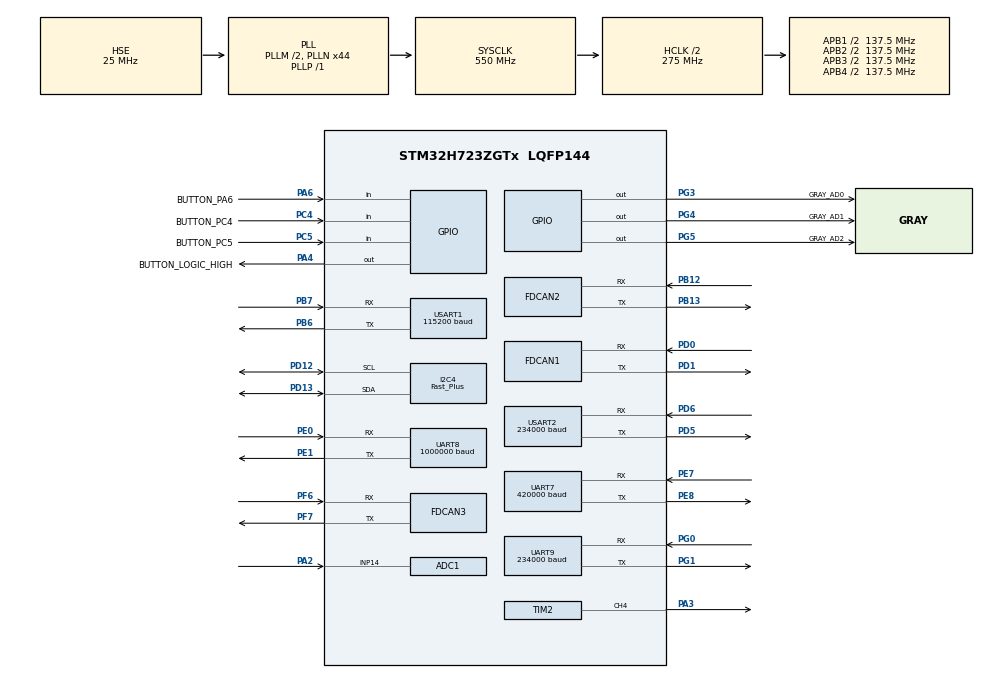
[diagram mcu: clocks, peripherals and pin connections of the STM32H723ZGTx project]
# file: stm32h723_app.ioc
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ADC1.Channel-0\#ChannelRegularConversion=ADC_CHANNEL_14
ADC1.ClockPrescaler=ADC_CLOCK_ASYNC_DIV2
ADC1.ContinuousConvMode=DISABLE
ADC1.ConversionDataManagement=ADC_CONVERSIONDATA_DR
ADC1.DataAlign=ADC_DATAALIGN_RIGHT
ADC1.DiscontinuousConvMode=DISABLE
ADC1.ExternalTrigConv=ADC_SOFTWARE_START
ADC1.ExternalTrigConvEdge=ADC_EXTERNALTRIGCONVEDGE_NONE
ADC1.NbrOfConversion=1
ADC1.NbrOfConversionFlag=1
ADC1.OffsetNumber-0\#ChannelRegularConversion=ADC_OFFSET_NONE
ADC1.Overrun=ADC_OVR_DATA_PRESERVED
ADC1.Rank-0\#ChannelRegularConversion=1
ADC1.Resolution=ADC_RESOLUTION_12B
ADC1.SamplingTime-0\#ChannelRegularConversion=ADC_SAMPLETIME_64CYCLES_5
ADC1.SamplingTimeCommon1=ADC_SAMPLETIME_64CYCLES_5
ADC1.SamplingTimeCommon2=ADC_SAMPLETIME_64CYCLES_5
ADC1.ScanConvMode=ADC_SCAN_DISABLE
ADC1.master=1
CORTEX_M7.CPU_DCache=Disabled
CORTEX_M7.default_mode_Activation=1
Dma.Request0=UART7_RX
Dma.Request1=UART8_TX
Dma.Request2=UART9_RX
Dma.Request3=USART2_RX
Dma.UART7_RX.0.Direction=DMA_PERIPH_TO_MEMORY
Dma.UART7_RX.0.EventEnable=DISABLE
Dma.UART7_RX.0.FIFOMode=DMA_FIFOMODE_DISABLE
Dma.UART7_RX.0.Instance=DMA1_Stream0
Dma.UART7_RX.0.MemDataAlignment=DMA_MDATAALIGN_BYTE
Dma.UART7_RX.0.MemInc=DMA_MINC_ENABLE
Dma.UART7_RX.0.Mode=DMA_NORMAL
Dma.UART7_RX.0.PeriphDataAlignment=DMA_PDATAALIGN_BYTE
Dma.UART7_RX.0.PeriphInc=DMA_PINC_DISABLE
Dma.UART7_RX.0.Polarity=HAL_DMAMUX_REQ_GEN_RISING
Dma.UART7_RX.0.Priority=DMA_PRIORITY_HIGH
Dma.UART7_RX.0.RequestNumber=1
Dma.UART7_RX.0.SignalID=NONE
Dma.UART7_RX.0.SyncEnable=DISABLE
Dma.UART7_RX.0.SyncPolarity=HAL_DMAMUX_SYNC_NO_EVENT
Dma.UART7_RX.0.SyncRequestNumber=1
Dma.UART7_RX.0.SyncSignalID=NONE
Dma.UART8_TX.1.Direction=DMA_MEMORY_TO_PERIPH
Dma.UART8_TX.1.EventEnable=DISABLE
Dma.UART8_TX.1.FIFOMode=DMA_FIFOMODE_DISABLE
Dma.UART8_TX.1.Instance=DMA1_Stream1
Dma.UART8_TX.1.MemDataAlignment=DMA_MDATAALIGN_BYTE
Dma.UART8_TX.1.MemInc=DMA_MINC_ENABLE
Dma.UART8_TX.1.Mode=DMA_NORMAL
Dma.UART8_TX.1.PeriphDataAlignment=DMA_PDATAALIGN_BYTE
Dma.UART8_TX.1.PeriphInc=DMA_PINC_DISABLE
Dma.UART8_TX.1.Polarity=HAL_DMAMUX_REQ_GEN_RISING
Dma.UART8_TX.1.Priority=DMA_PRIORITY_LOW
Dma.UART8_TX.1.RequestNumber=1
Dma.UART8_TX.1.SignalID=NONE
Dma.UART8_TX.1.SyncEnable=DISABLE
Dma.UART8_TX.1.SyncPolarity=HAL_DMAMUX_SYNC_NO_EVENT
Dma.UART8_TX.1.SyncRequestNumber=1
Dma.UART8_TX.1.SyncSignalID=NONE
Dma.UART9_RX.2.Direction=DMA_PERIPH_TO_MEMORY
Dma.UART9_RX.2.EventEnable=DISABLE
Dma.UART9_RX.2.FIFOMode=DMA_FIFOMODE_DISABLE
Dma.UART9_RX.2.Instance=DMA1_Stream2
Dma.UART9_RX.2.MemDataAlignment=DMA_MDATAALIGN_BYTE
Dma.UART9_RX.2.MemInc=DMA_MINC_ENABLE
Dma.UART9_RX.2.Mode=DMA_NORMAL
Dma.UART9_RX.2.PeriphDataAlignment=DMA_PDATAALIGN_BYTE
Dma.UART9_RX.2.PeriphInc=DMA_PINC_DISABLE
Dma.UART9_RX.2.Polarity=HAL_DMAMUX_REQ_GEN_RISING
Dma.UART9_RX.2.Priority=DMA_PRIORITY_LOW
Dma.UART9_RX.2.RequestNumber=1
Dma.UART9_RX.2.SignalID=NONE
Dma.UART9_RX.2.SyncEnable=DISABLE
Dma.UART9_RX.2.SyncPolarity=HAL_DMAMUX_SYNC_NO_EVENT
Dma.UART9_RX.2.SyncRequestNumber=1
Dma.UART9_RX.2.SyncSignalID=NONE
Dma.USART2_RX.3.Direction=DMA_PERIPH_TO_MEMORY
Dma.USART2_RX.3.EventEnable=DISABLE
Dma.USART2_RX.3.FIFOMode=DMA_FIFOMODE_DISABLE
Dma.USART2_RX.3.Instance=DMA1_Stream3
Dma.USART2_RX.3.MemDataAlignment=DMA_MDATAALIGN_BYTE
Dma.USART2_RX.3.MemInc=DMA_MINC_ENABLE
Dma.USART2_RX.3.Mode=DMA_NORMAL
Dma.USART2_RX.3.PeriphDataAlignment=DMA_PDATAALIGN_BYTE
Dma.USART2_RX.3.PeriphInc=DMA_PINC_DISABLE
Dma.USART2_RX.3.Polarity=HAL_DMAMUX_REQ_GEN_RISING
Dma.USART2_RX.3.Priority=DMA_PRIORITY_LOW
Dma.USART2_RX.3.RequestNumber=1
Dma.USART2_RX.3.SignalID=NONE
Dma.USART2_RX.3.SyncEnable=DISABLE
Dma.USART2_RX.3.SyncPolarity=HAL_DMAMUX_SYNC_NO_EVENT
Dma.USART2_RX.3.SyncRequestNumber=1
Dma.USART2_RX.3.SyncSignalID=NONE
FDCAN1.CalculateBaudRateNominal=1000000
FDCAN1.CalculateTimeBitNominal=1000
FDCAN1.CalculateTimeQuantumNominal=25.0
FDCAN1.DataPrescaler=3
FDCAN1.DataSyncJumpWidth=10
FDCAN1.DataTimeSeg1=3
FDCAN1.DataTimeSeg2=10
FDCAN1.ExtFiltersNbr=1
FDCAN1.MessageRAMOffset=0
FDCAN1.NominalPrescaler=3
FDCAN1.NominalSyncJumpWidth=10
FDCAN1.NominalTimeSeg1=29
FDCAN1.NominalTimeSeg2=10
FDCAN1.RxFifo0ElmtsNbr=12
FDCAN1.StdFiltersNbr=1
FDCAN1.TxFifoQueueElmtsNbr=10
FDCAN2.CalculateBaudRateNominal=1000000
FDCAN2.CalculateTimeBitNominal=1000
FDCAN2.CalculateTimeQuantumNominal=25.0
FDCAN2.DataPrescaler=3
FDCAN2.DataSyncJumpWidth=10
FDCAN2.DataTimeSeg1=3
FDCAN2.DataTimeSeg2=10
FDCAN2.ExtFiltersNbr=1
FDCAN2.MessageRAMOffset=89
FDCAN2.NominalPrescaler=3
FDCAN2.NominalSyncJumpWidth=10
FDCAN2.NominalTimeSeg1=29
FDCAN2.NominalTimeSeg2=10
FDCAN2.RxFifo0ElmtsNbr=12
FDCAN2.StdFiltersNbr=1
FDCAN2.TxFifoQueueElmtsNbr=10
FDCAN3.CalculateBaudRateNominal=1000000
FDCAN3.CalculateTimeBitNominal=1000
FDCAN3.CalculateTimeQuantumNominal=25.0
FDCAN3.DataPrescaler=3
FDCAN3.DataSyncJumpWidth=10
FDCAN3.DataTimeSeg1=3
FDCAN3.DataTimeSeg2=10
FDCAN3.ExtFiltersNbr=1
FDCAN3.MessageRAMOffset=178
FDCAN3.NominalPrescaler=3
FDCAN3.NominalSyncJumpWidth=10
FDCAN3.NominalTimeSeg1=29
FDCAN3.NominalTimeSeg2=10
FDCAN3.RxFifo0ElmtsNbr=12
FDCAN3.StdFiltersNbr=1
FDCAN3.TxFifoQueueElmtsNbr=10
FREERTOS.Tasks01=defaultTask,24,2000,startDefaultTask,As weak,NULL,Dynamic,NULL,NULL
FREERTOS.configCHECK_FOR_STACK_OVERFLOW=2
FREERTOS.configMAX_TASK_NAME_LEN=32
FREERTOS.configMINIMAL_STACK_SIZE=256
FREERTOS.configTOTAL_HEAP_SIZE=40000
I2C4.AddressingMode=I2C_ADDRESSINGMODE_7BIT
I2C4.AnalogFilter=I2C_ANALOGFILTER_ENABLE
I2C4.DualAddressMode=I2C_DUALADDRESS_DISABLE
I2C4.FASTMODEPLUS=I2C_FASTMODEPLUS_I2C4
I2C4.GeneralCallMode=I2C_GENERALCALL_DISABLE
I2C4.I2C_Fall_Time=100
I2C4.I2C_Rise_Time=100
I2C4.I2C_Speed_Mode=I2C_Fast_Plus
I2C4.NoStretchMode=I2C_NOSTRETCH_DISABLE
I2C4.OwnAddress1=0
I2C4.Speed=1000
I2C4.Timing=0x10A20D1F
TIM2.AutoReloadPreload=TIM_AUTORELOAD_PRELOAD_DISABLE
TIM2.Channel-PWM\ Generation4\ CH4=TIM_CHANNEL_4
TIM2.CounterMode=TIM_COUNTERMODE_UP
TIM2.Period=499
TIM2.Prescaler=274
Mcu.Family=STM32H7
Mcu.Name=STM32H723ZGTx
Mcu.Package=LQFP144
NVIC.DMA1_Stream0_IRQn=true\:5\:0\:false\:false\:true\:true\:false\:true\:true
NVIC.DMA1_Stream1_IRQn=true\:5\:0\:false\:false\:true\:true\:false\:true\:true
NVIC.DMA1_Stream2_IRQn=true\:5\:0\:false\:false\:true\:true\:false\:true\:true
NVIC.DMA1_Stream3_IRQn=true\:5\:0\:false\:false\:true\:true\:false\:true\:true
NVIC.FDCAN1_IT0_IRQn=true\:5\:0\:false\:false\:true\:true\:true\:true\:true
NVIC.FDCAN2_IT0_IRQn=true\:5\:0\:false\:false\:true\:true\:true\:true\:true
NVIC.FDCAN3_IT0_IRQn=true\:5\:0\:false\:false\:true\:true\:true\:true\:true
NVIC.PriorityGroup=NVIC_PRIORITYGROUP_4
NVIC.TIM6_DAC_IRQn=true\:15\:0\:false\:false\:true\:false\:false\:true\:true
NVIC.TimeBase=TIM6_DAC_IRQn
NVIC.TimeBaseIP=TIM6
NVIC.UART7_IRQn=true\:5\:0\:false\:false\:true\:true\:true\:true\:true
NVIC.UART8_IRQn=true\:5\:0\:false\:false\:true\:true\:true\:true\:true
NVIC.UART9_IRQn=true\:5\:0\:false\:false\:true\:true\:true\:true\:true
NVIC.USART2_IRQn=true\:5\:0\:false\:false\:true\:true\:true\:true\:true
PA13(JTMS/SWDIO).Mode=Serial_Wire
PA13(JTMS/SWDIO).Signal=DEBUG_JTMS-SWDIO
PA14(JTCK/SWCLK).Mode=Serial_Wire
PA14(JTCK/SWCLK).Signal=DEBUG_JTCK-SWCLK
PA2.Signal=ADCx_INP14
PA3.Mode=PWM Generation4 CH4
PA3.Signal=TIM2_CH4
PA4.GPIO_Label=BUTTON_LOGIC_HIGH
PA4.Signal=GPIO_Output
PA6.GPIO_Label=BUTTON_PA6
PA6.Signal=GPIO_Input
PB12.Mode=FDCAN_Activate
PB12.Signal=FDCAN2_RX
PB13.Mode=FDCAN_Activate
PB13.Signal=FDCAN2_TX
PB6.Mode=Asynchronous
PB6.Signal=USART1_TX
PB7.Mode=Asynchronous
PB7.Signal=USART1_RX
PC4.GPIO_Label=BUTTON_PC4
PC4.Signal=GPIO_Input
PC5.GPIO_Label=BUTTON_PC5
PC5.Signal=GPIO_Input
PD0.Mode=FDCAN_Activate
PD0.Signal=FDCAN1_RX
PD1.Mode=FDCAN_Activate
PD1.Signal=FDCAN1_TX
PD12.Mode=I2C
PD12.Signal=I2C4_SCL
PD13.Mode=I2C
PD13.Signal=I2C4_SDA
PD5.Mode=Asynchronous
PD5.Signal=USART2_TX
PD6.Mode=Asynchronous
PD6.Signal=USART2_RX
PE0.Mode=Asynchronous
PE0.Signal=UART8_RX
PE1.Mode=Asynchronous
PE1.Signal=UART8_TX
PE7.Mode=Asynchronous
PE7.Signal=UART7_RX
PE8.Mode=Asynchronous
PE8.Signal=UART7_TX
PF6.Mode=FDCAN_Activate
PF6.Signal=FDCAN3_RX
PF7.Mode=FDCAN_Activate
PF7.Signal=FDCAN3_TX
PG0.Mode=Asynchronous
PG0.Signal=UART9_RX
PG1.Mode=Asynchronous
PG1.Signal=UART9_TX
PG3.GPIO_Label=GRAY_AD0
PG3.Signal=GPIO_Output
PG4.GPIO_Label=GRAY_AD1
PG4.Signal=GPIO_Output
PG5.GPIO_Label=GRAY_AD2
PG5.Signal=GPIO_Output
PH0-OSC_IN.Mode=HSE-External-Oscillator
PH0-OSC_IN.Signal=RCC_OSC_IN
PH1-OSC_OUT.Mode=HSE-External-Oscillator
PH1-OSC_OUT.Signal=RCC_OSC_OUT
ProjectManager.HeapSize=0x200
ProjectManager.StackSize=0x400
ProjectManager.TargetToolchain=MDK-ARM V5.32
RCC.ADCCLockSelection=RCC_ADCCLKSOURCE_CLKP
RCC.ADCClockSelection=RCC_ADCCLKSOURCE_CLKP
RCC.ADCFreq_Value=64000000
RCC.APB1Freq_Value=137500000
RCC.APB2Freq_Value=137500000
RCC.APB3Freq_Value=137500000
RCC.APB4Freq_Value=137500000
RCC.CortexFreq_Value=550000000
RCC.D1PPRE=RCC_APB3_DIV2
RCC.D2PPRE1=RCC_APB1_DIV2
RCC.D2PPRE2=RCC_APB2_DIV2
RCC.D3PPRE=RCC_APB4_DIV2
RCC.DIVM1=2
RCC.DIVM2=2
RCC.DIVN1=44
RCC.DIVN2=48
RCC.DIVP1=1
RCC.DIVQ2=5
RCC.FDCANCLockSelection=RCC_FDCANCLKSOURCE_PLL2
RCC.HCLKFreq_Value=275000000
RCC.HPRE=RCC_HCLK_DIV2
RCC.PLL2FRACN=0
RCC.PLL3FRACN=0
RCC.PLLFRACN=0
RCC.PLLSourceVirtual=RCC_PLLSOURCE_HSE
RCC.SYSCLKFreq_VALUE=550000000
RCC.SYSCLKSource=RCC_SYSCLKSOURCE_PLLCLK
RCC.USBFreq_Value=275000000
SH.ADCx_INP14.0=ADC1_INP14,IN14-Single-Ended
SH.S_TIM2_CH4.0=TIM2_CH4,PWM Generation4 CH4
UART7.BaudRate=420000
UART7.DMADisableonRxErrorParam=UART_ADVFEATURE_DMA_DISABLEONRXERROR
UART7.OverrunDisableParam=UART_ADVFEATURE_OVERRUN_DISABLE
UART8.BaudRate=1000000
UART8.DMADisableonRxErrorParam=UART_ADVFEATURE_DMA_DISABLEONRXERROR
UART8.Mode=MODE_TX
UART8.OverrunDisableParam=UART_ADVFEATURE_OVERRUN_DISABLE
UART9.BaudRate=234000
USART1.BaudRate=115200
USART1.VirtualMode-Asynchronous=VM_ASYNC
USART2.BaudRate=234000
USART2.DMADisableonRxErrorParam=UART_ADVFEATURE_DMA_DISABLEONRXERROR
USART2.OverrunDisableParam=UART_ADVFEATURE_OVERRUN_DISABLE
USART2.VirtualMode-Asynchronous=VM_ASYNC
VP_FREERTOS_VS_CMSIS_V2.Mode=CMSIS_V2
VP_MEMORYMAP_VS_MEMORYMAP.Mode=CurAppReg
VP_SYS_VS_tim6.Mode=TIM6
board=custom

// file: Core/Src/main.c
/* USER CODE BEGIN Header */
/**
  ******************************************************************************
  * @file           : main.c
  * @brief          : Main program body
  ******************************************************************************
  * @attention
  *
  * Copyright (c) 2026 STMicroelectronics.
  * All rights reserved.
  *
  * This software is licensed under terms that can be found in the LICENSE file
  * in the root directory of this software component.
  * If no LICENSE file comes with this software, it is provided AS-IS.
  *
  ******************************************************************************
  */
/* USER CODE END Header */
#include "main.h"
#include "cmsis_os.h"
#include "adc.h"
#include "dma.h"
#include "fdcan.h"
#include "i2c.h"
#include "tim.h"
#include "usart.h"
#include "gpio.h"

/* USER CODE BEGIN Includes */

#include "app_config.h"

/* USER CODE END Includes */

void SystemClock_Config(void);
void PeriphCommonClock_Config(void);
static void MPU_Config(void);
void MX_FREERTOS_Init(void);

int main(void)
{

  /* MPU Configuration--------------------------------------------------------*/
  MPU_Config();

  /* MCU Configuration--------------------------------------------------------*/

  /* Reset of all peripherals, Initializes the Flash interface and the Systick. */
  HAL_Init();

  /* Configure the system clock */
  SystemClock_Config();

  /* Configure the peripherals common clocks */
  PeriphCommonClock_Config();

  /* Initialize all configured peripherals */
  MX_GPIO_Init();
  MX_DMA_Init();
  MX_FDCAN1_Init();
  MX_FDCAN3_Init();
  MX_FDCAN2_Init();
  MX_USART2_UART_Init();
  MX_UART7_Init();
  MX_UART8_Init();
#if (APP_H723_JY901S_SERVICE_ENABLE == 1U)
  MX_UART9_Init();
#endif
  MX_ADC1_Init();
  MX_USART1_UART_Init();
  MX_I2C4_Init();
  MX_TIM2_Init();

  /* Init scheduler */
  osKernelInitialize();  /* Call init function for freertos objects (in cmsis_os2.c) */
  MX_FREERTOS_Init();

  /* Start scheduler */
  osKernelStart();

  /* We should never get here as control is now taken by the scheduler */

  /* Infinite loop */
  while (1)
  {

  }
}

void SystemClock_Config(void)
{
  RCC_OscInitTypeDef RCC_OscInitStruct = {0};
  RCC_ClkInitTypeDef RCC_ClkInitStruct = {0};

  /** Supply configuration update enable
  */
  HAL_PWREx_ConfigSupply(PWR_LDO_SUPPLY);

  /** Configure the main internal regulator output voltage
  */
  __HAL_PWR_VOLTAGESCALING_CONFIG(PWR_REGULATOR_VOLTAGE_SCALE0);

  while(!__HAL_PWR_GET_FLAG(PWR_FLAG_VOSRDY)) {}

  /** Initializes the RCC Oscillators according to the specified parameters
  * in the RCC_OscInitTypeDef structure.
  */
  RCC_OscInitStruct.OscillatorType = RCC_OSCILLATORTYPE_HSI|RCC_OSCILLATORTYPE_HSE;
  RCC_OscInitStruct.HSEState = RCC_HSE_ON;
  RCC_OscInitStruct.HSIState = RCC_HSI_DIV1;
  RCC_OscInitStruct.HSICalibrationValue = 64;
  RCC_OscInitStruct.PLL.PLLState = RCC_PLL_ON;
  RCC_OscInitStruct.PLL.PLLSource = RCC_PLLSOURCE_HSE;
  RCC_OscInitStruct.PLL.PLLM = 2;
  RCC_OscInitStruct.PLL.PLLN = 44;
  RCC_OscInitStruct.PLL.PLLP = 1;
  RCC_OscInitStruct.PLL.PLLQ = 2;
  RCC_OscInitStruct.PLL.PLLR = 2;
  RCC_OscInitStruct.PLL.PLLRGE = RCC_PLL1VCIRANGE_3;
  RCC_OscInitStruct.PLL.PLLVCOSEL = RCC_PLL1VCOWIDE;
  RCC_OscInitStruct.PLL.PLLFRACN = 0;
  if (HAL_RCC_OscConfig(&RCC_OscInitStruct) != HAL_OK)
  {
    Error_Handler();
  }

  /** Initializes the CPU, AHB and APB buses clocks
  */
  RCC_ClkInitStruct.ClockType = RCC_CLOCKTYPE_HCLK|RCC_CLOCKTYPE_SYSCLK
                              |RCC_CLOCKTYPE_PCLK1|RCC_CLOCKTYPE_PCLK2
                              |RCC_CLOCKTYPE_D3PCLK1|RCC_CLOCKTYPE_D1PCLK1;
  RCC_ClkInitStruct.SYSCLKSource = RCC_SYSCLKSOURCE_PLLCLK;
  RCC_ClkInitStruct.SYSCLKDivider = RCC_SYSCLK_DIV1;
  RCC_ClkInitStruct.AHBCLKDivider = RCC_HCLK_DIV2;
  RCC_ClkInitStruct.APB3CLKDivider = RCC_APB3_DIV2;
  RCC_ClkInitStruct.APB1CLKDivider = RCC_APB1_DIV2;
  RCC_ClkInitStruct.APB2CLKDivider = RCC_APB2_DIV2;
  RCC_ClkInitStruct.APB4CLKDivider = RCC_APB4_DIV2;

  if (HAL_RCC_ClockConfig(&RCC_ClkInitStruct, FLASH_LATENCY_3) != HAL_OK)
  {
    Error_Handler();
  }
}

void PeriphCommonClock_Config(void)
{
  RCC_PeriphCLKInitTypeDef PeriphClkInitStruct = {0};

  /** Initializes the peripherals clock
  */
  PeriphClkInitStruct.PeriphClockSelection = RCC_PERIPHCLK_FDCAN|RCC_PERIPHCLK_CKPER;
  PeriphClkInitStruct.PLL2.PLL2M = 2;
  PeriphClkInitStruct.PLL2.PLL2N = 48;
  PeriphClkInitStruct.PLL2.PLL2P = 2;
  PeriphClkInitStruct.PLL2.PLL2Q = 5;
  PeriphClkInitStruct.PLL2.PLL2R = 2;
  PeriphClkInitStruct.PLL2.PLL2RGE = RCC_PLL2VCIRANGE_3;
  PeriphClkInitStruct.PLL2.PLL2VCOSEL = RCC_PLL2VCOWIDE;
  PeriphClkInitStruct.PLL2.PLL2FRACN = 0;
  PeriphClkInitStruct.CkperClockSelection = RCC_CLKPSOURCE_HSI;
  PeriphClkInitStruct.FdcanClockSelection = RCC_FDCANCLKSOURCE_PLL2;
  if (HAL_RCCEx_PeriphCLKConfig(&PeriphClkInitStruct) != HAL_OK)
  {
    Error_Handler();
  }
}

 /* MPU Configuration */

void MPU_Config(void)
{
  MPU_Region_InitTypeDef MPU_InitStruct = {0};

  /* Disables the MPU */
  HAL_MPU_Disable();

  /** Initializes and configures the Region and the memory to be protected
  */
  MPU_InitStruct.Enable = MPU_REGION_ENABLE;
  MPU_InitStruct.Number = MPU_REGION_NUMBER0;
  MPU_InitStruct.BaseAddress = 0x0;
  MPU_InitStruct.Size = MPU_REGION_SIZE_4GB;
  MPU_InitStruct.SubRegionDisable = 0x87;
  MPU_InitStruct.TypeExtField = MPU_TEX_LEVEL0;
  MPU_InitStruct.AccessPermission = MPU_REGION_NO_ACCESS;
  MPU_InitStruct.DisableExec = MPU_INSTRUCTION_ACCESS_DISABLE;
  MPU_InitStruct.IsShareable = MPU_ACCESS_SHAREABLE;
  MPU_InitStruct.IsCacheable = MPU_ACCESS_NOT_CACHEABLE;
  MPU_InitStruct.IsBufferable = MPU_ACCESS_NOT_BUFFERABLE;

  HAL_MPU_ConfigRegion(&MPU_InitStruct);
  /* Enables the MPU */
  HAL_MPU_Enable(MPU_PRIVILEGED_DEFAULT);

}

void HAL_TIM_PeriodElapsedCallback(TIM_HandleTypeDef *htim)
{
  if (htim->Instance == TIM6)
  {
    HAL_IncTick();
  }
}

void Error_Handler(void)
{
  __disable_irq();
  while (1)
  {
  }
}

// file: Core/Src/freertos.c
/* USER CODE BEGIN Header */
/**
  ******************************************************************************
  * File Name          : freertos.c
  * Description        : Code for freertos applications
  ******************************************************************************
  * @attention
  *
  * Copyright (c) 2026 STMicroelectronics.
  * All rights reserved.
  *
  * This software is licensed under terms that can be found in the LICENSE file
  * in the root directory of this software component.
  * If no LICENSE file comes with this software, it is provided AS-IS.
  *
  ******************************************************************************
  */
/* USER CODE END Header */

#include "FreeRTOS.h"
#include "task.h"
#include "main.h"
#include "cmsis_os.h"

/* USER CODE BEGIN Includes */

#include "app_telemetry.h"
#include "app_buttons.h"
#include "app_debug.h"
#include "app_chassis_service.h"
#include "app_config.h"
#if (APP_H723_BNO055_SERVICE_ENABLE == 1U)
#include "app_bno055_service.h"
#endif
#if (APP_H723_JY901S_SERVICE_ENABLE == 1U)
#include "app_jy901s_service.h"
#endif
#include "app_k230_service.h"
#include "app_grayscale_service.h"
#include "app_oled.h"
#include "app_time.h"
#include "app_buzzer.h"

/* USER CODE END Includes */

/* USER CODE BEGIN Variables */

static osThreadId_t chassisTaskHandle;
static const osThreadAttr_t chassisTask_attributes = {
  .name = "chassisTask",
  .stack_size = 1024 * 4,
  .priority = (osPriority_t)osPriorityHigh,
};

#if (APP_H723_JY901S_SERVICE_ENABLE == 1U)
static osThreadId_t jy901sTaskHandle;
static const osThreadAttr_t jy901sTask_attributes = {
  .name = "jy901sTask",
  .stack_size = 1024 * 2,
  .priority = (osPriority_t)osPriorityAboveNormal,
};
#endif

static osThreadId_t grayscaleTaskHandle;
static const osThreadAttr_t grayscaleTask_attributes = {
  .name = "grayscaleTask",
  .stack_size = 1024 * 2,
  .priority = (osPriority_t)osPriorityAboveNormal,
};

#if (APP_H723_BNO055_SERVICE_ENABLE == 1U)
static osThreadId_t bno055TaskHandle;
static const osThreadAttr_t bno055Task_attributes = {
  .name = "bno055Task",
  .stack_size = 1024 * 2,
  .priority = (osPriority_t)osPriorityAboveNormal,
};
#endif
#if (APP_H723_K230_UART2_ENABLE == 1U)
static osThreadId_t k230TaskHandle;
static const osThreadAttr_t k230Task_attributes = {
  .name = "k230Task",
  .stack_size = 1024 * 2,
  .priority = (osPriority_t)osPriorityAboveNormal,
};
#endif

static osThreadId_t oledTaskHandle;
static const osThreadAttr_t oledTask_attributes = {
  .name = "oledTask",
  .stack_size = 1024 * 2,
  .priority = (osPriority_t)osPriorityLow,
};

static osThreadId_t buttonTaskHandle;
static const osThreadAttr_t buttonTask_attributes = {
  .name = "buttonTask",
  .stack_size = 1024 * 2,
  .priority = (osPriority_t)osPriorityNormal,
};

/* USER CODE END Variables */
/* Definitions for defaultTask */
osThreadId_t defaultTaskHandle;
const osThreadAttr_t defaultTask_attributes = {
  .name = "defaultTask",
  .stack_size = 2000 * 4,
  .priority = (osPriority_t) osPriorityNormal,
};

/* USER CODE BEGIN FunctionPrototypes */

void startChassisTask(void *argument);
#if (APP_H723_JY901S_SERVICE_ENABLE == 1U)
void startJy901sTask(void *argument);
#endif
void startGrayscaleTask(void *argument);
#if (APP_H723_BNO055_SERVICE_ENABLE == 1U)
void startBno055Task(void *argument);
#endif
#if (APP_H723_K230_UART2_ENABLE == 1U)
void startK230Task(void *argument);
#endif
void startOledTask(void *argument);
void startButtonTask(void *argument);

/* USER CODE END FunctionPrototypes */

void startDefaultTask(void *argument);

void MX_FREERTOS_Init(void); /* (MISRA C 2004 rule 8.1) */

/* Hook prototypes */
void vApplicationStackOverflowHook(xTaskHandle xTask, signed char *pcTaskName);

/* USER CODE BEGIN 4 */
void vApplicationStackOverflowHook(xTaskHandle xTask, signed char *pcTaskName)
{
   (void)xTask;
   (void)pcTaskName;
   /* Run time stack overflow checking is performed if
   configCHECK_FOR_STACK_OVERFLOW is defined to 1 or 2. This hook function is
   called if a stack overflow is detected. */
}
/* USER CODE END 4 */

void MX_FREERTOS_Init(void) {

  /* Create the thread(s) */
  /* creation of defaultTask */
  defaultTaskHandle = osThreadNew(startDefaultTask, NULL, &defaultTask_attributes);

  /* USER CODE BEGIN RTOS_THREADS */
  chassisTaskHandle = osThreadNew(startChassisTask, NULL, &chassisTask_attributes);
  configASSERT(chassisTaskHandle != NULL);
#if (APP_H723_JY901S_SERVICE_ENABLE == 1U)
  jy901sTaskHandle = osThreadNew(startJy901sTask, NULL, &jy901sTask_attributes);
  configASSERT(jy901sTaskHandle != NULL);
#endif
  grayscaleTaskHandle = osThreadNew(startGrayscaleTask, NULL, &grayscaleTask_attributes);
  configASSERT(grayscaleTaskHandle != NULL);
#if (APP_H723_BNO055_SERVICE_ENABLE == 1U)
  bno055TaskHandle = osThreadNew(startBno055Task, NULL, &bno055Task_attributes);
  configASSERT(bno055TaskHandle != NULL);
#endif
#if (APP_H723_K230_UART2_ENABLE == 1U)
  k230TaskHandle = osThreadNew(startK230Task, NULL, &k230Task_attributes);
  configASSERT(k230TaskHandle != NULL);
#endif
  oledTaskHandle = osThreadNew(startOledTask, NULL, &oledTask_attributes);
  configASSERT(oledTaskHandle != NULL);
  buttonTaskHandle = osThreadNew(startButtonTask, NULL, &buttonTask_attributes);
  configASSERT(buttonTaskHandle != NULL);
  /* add threads, ... */
  /* USER CODE END RTOS_THREADS */

}

__weak void startDefaultTask(void *argument)
{
  /* USER CODE BEGIN startDefaultTask */
  (void)argument;
  h723_app_telemetry_init();
  h723_buzzer_service_init();
  /* Infinite loop */
  for(;;)
  {
    h723_app_telemetry_step();
    h723_buzzer_service_step(h723_app_time_now_ms());
    osDelay(1);
  }
  /* USER CODE END startDefaultTask */
}

/* USER CODE BEGIN Application */

void startChassisTask(void *argument)
{
  uint32_t next_wake_tick = osKernelGetTickCount();

  (void)argument;
  h723_chassis_service_init();
  for (;;) {
    h723_chassis_service_step(h723_app_time_now_ms());
    next_wake_tick += APP_H723_CHASSIS_TASK_PERIOD_MS;
    (void)osDelayUntil(next_wake_tick);
  }
}

void startButtonTask(void *argument)
{
  uint32_t next_wake_tick = osKernelGetTickCount();
  h723_app_buttons_snapshot_t snapshot;

  (void)argument;
  h723_app_buttons_init();
  h723_app_buttons_snapshot_copy(&snapshot);
  g_h723_debug.buttons.raw_high_mask = snapshot.raw_high_mask;
  g_h723_debug.buttons.stable_high_mask = snapshot.stable_high_mask;
  g_h723_debug.buttons.sample_sequence = snapshot.sample_sequence;

  for (;;) {
    h723_app_buttons_step();
    h723_app_buttons_snapshot_copy(&snapshot);
    g_h723_debug.buttons.raw_high_mask = snapshot.raw_high_mask;
    g_h723_debug.buttons.stable_high_mask = snapshot.stable_high_mask;
    g_h723_debug.buttons.sample_sequence = snapshot.sample_sequence;
    next_wake_tick += APP_H723_BUTTON_TASK_PERIOD_MS;
    (void)osDelayUntil(next_wake_tick);
  }
}

#if (APP_H723_JY901S_SERVICE_ENABLE == 1U)
void startJy901sTask(void *argument)
{
  uint32_t next_wake_tick = osKernelGetTickCount();

  (void)argument;
  h723_jy901s_service_init();
  for (;;) {
    h723_jy901s_service_step(h723_app_time_now_ms());
    next_wake_tick += APP_JY901S_TASK_PERIOD_MS;
    (void)osDelayUntil(next_wake_tick);
  }
}
#endif

void startGrayscaleTask(void *argument)
{
  uint32_t next_wake_tick = osKernelGetTickCount();

  (void)argument;
  h723_grayscale_service_init();
  for (;;) {
    h723_grayscale_service_step(h723_app_time_now_ms());
    next_wake_tick += APP_GRAYSCALE_TASK_PERIOD_MS;
    (void)osDelayUntil(next_wake_tick);
  }
}

#if (APP_H723_BNO055_SERVICE_ENABLE == 1U)
void startBno055Task(void *argument)
{
  uint32_t next_wake_tick = osKernelGetTickCount();

  (void)argument;
  h723_bno055_service_init();
  for (;;) {
    h723_bno055_service_step(h723_app_time_now_ms());
    next_wake_tick += APP_BNO055_TASK_PERIOD_MS;
    (void)osDelayUntil(next_wake_tick);
  }
}
#endif

#if (APP_H723_K230_UART2_ENABLE == 1U)
void startK230Task(void *argument)
{
  uint32_t next_wake_tick = osKernelGetTickCount();

  (void)argument;
  h723_k230_service_init();
  for (;;) {
    h723_k230_service_step(h723_app_time_now_ms());
    next_wake_tick += 5U;
    (void)osDelayUntil(next_wake_tick);
  }
}
#endif

void startOledTask(void *argument)
{
  uint32_t next_wake_tick = osKernelGetTickCount();

  (void)argument;
  h723_oled_service_init();
  for (;;) {
    h723_oled_service_step(h723_app_time_now_ms());
    next_wake_tick += APP_H723_OLED_TASK_PERIOD_MS;
    (void)osDelayUntil(next_wake_tick);
  }
}

/* USER CODE END Application */
